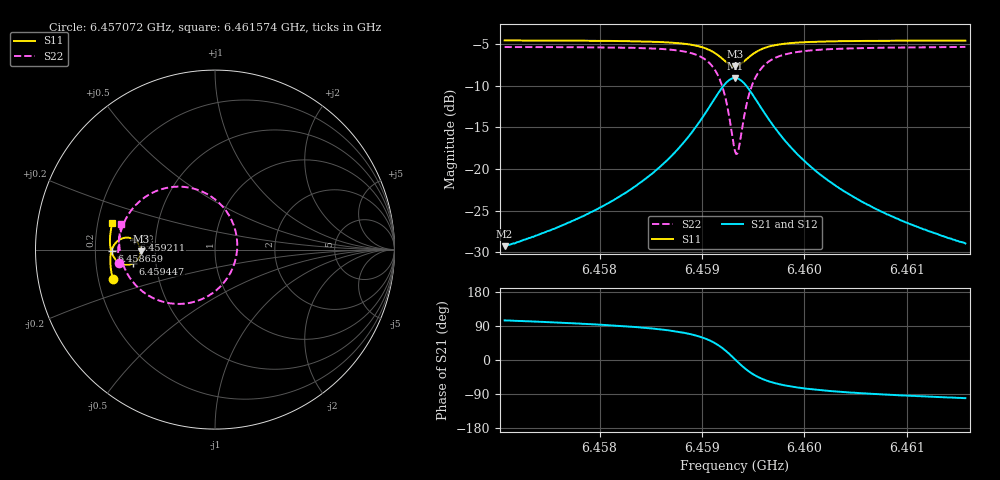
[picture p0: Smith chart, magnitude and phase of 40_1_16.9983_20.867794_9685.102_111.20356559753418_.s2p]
#  HZ  S  RI  R  50.00
! Rohde & Schwarz Vector Network Analyzer
! Rohde-Schwarz,ZNB20-2Port,1311601062101988,3.16
! Created: UTC 3/20/2024, 10:53:51 PM
! freq[Hz]  re:S11  im:S11  re:S21  im:S21  re:S12  im:S12  re:S22  im:S22
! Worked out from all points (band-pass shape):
!   401 points, 6.457072 GHz to 6.461574 GHz, reference 50 ohm
!   highest |S21| = -9.06 dB at 6.459323 GHz (marker M1); lowest = -29.3 dB at 6.457072 GHz (marker M2)
!   |S21| within 3 dB of the highest: 6.459097 GHz to 6.459548 GHz (450.8 kHz wide, 0.00698 % of centre)
!   lowest |S11| = -7.7 dB at 6.459323 GHz (marker M3), VSWR 2.41, Z = 20.7 - j0.47 ohm
!   |S11| at or under -10 dB: nowhere
!   |S22| runs from -18.2 to -5.3 dB; largest |S21 - S12| = 0.014
!   S11 on the Smith chart (normalised r, x): 6.457072 GHz: 0.26, -0.13; 6.458659 GHz: 0.27, -0.00; 6.459211 GHz: 0.38, +0.05; 6.459447 GHz: 0.37, -0.07; 6.461574 GHz: 0.26, +0.12
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6.4570723e9  -0.5681 -0.1661  -0.0086 0.0334  -0.0068 0.0332  -0.535 -0.0753
6.4578264e9  -0.5812 -0.0998  -0.00498 0.0516  -0.00262 0.0508  -0.5388 0.0142
6.4582653e9  -0.5835 -0.0551  0.00165 0.0727  0.00492 0.0713  -0.5286 0.0858
6.4585805e9  -0.5794 -0.0167  0.0155 0.1006  0.0194 0.0979  -0.5027 0.1597
6.4586593e9  -0.5764 -0.00548  0.022 0.1107  0.0262 0.1073  -0.4902 0.1832
6.4588506e9  -0.5628 0.0253  0.0508 0.1428  0.0549 0.1377  -0.436 0.2538
6.4589857e9  -0.5406 0.0496  0.0948 0.1713  0.098 0.1646  -0.3548 0.3135
6.4591208e9  -0.4957 0.0667  0.1842 0.1874  0.1851 0.1801  -0.1917 0.3505
6.4592108e9  -0.4501 0.0556  0.2757 0.1543  0.276 0.1486  -0.0222 0.2963
6.4592783e9  -0.4207 0.0224  0.3365 0.0802  0.3389 0.0751  0.0935 0.1621
6.4593234e9  -0.4139 -0.0094  0.3522 0.0109  0.3563 0.00382  0.124 0.0322
6.4593571e9  -0.4182 -0.0337  0.3458 -0.0425  0.3499 -0.0518  0.1107 -0.069
6.4594022e9  -0.4345 -0.0604  0.3159 -0.1031  0.3181 -0.1153  0.05 -0.1832
6.4594472e9  -0.457 -0.0768  0.2727 -0.1443  0.2718 -0.1579  -0.0377 -0.2582
6.4595372e9  -0.5013 -0.0838  0.1862 -0.1749  0.1798 -0.1867  -0.2097 -0.3025
6.4596048e9  -0.5259 -0.0763  0.1369 -0.1725  0.1288 -0.1816  -0.3046 -0.2861
6.4596835e9  -0.5457 -0.0631  0.0969 -0.1602  0.0883 -0.1664  -0.3794 -0.2505
6.4598411e9  -0.5675 -0.0354  0.0516 -0.1315  0.0439 -0.1342  -0.4603 -0.1768
6.4600775e9  -0.5805 0.000143  0.0222 -0.0991  0.0163 -0.0997  -0.5081 -0.0931
6.4604377e9  -0.5853 0.0432  0.00549 -0.0704  0.0015 -0.0699  -0.53 -0.00923
6.4608316e9  -0.5834 0.0829  -0.00159 -0.0528  -0.00444 -0.052  -0.5333 0.0547
6.4615745e9  -0.5717 0.1491  -0.00659 -0.0352  -0.00831 -0.0342  -0.5219 0.1437
